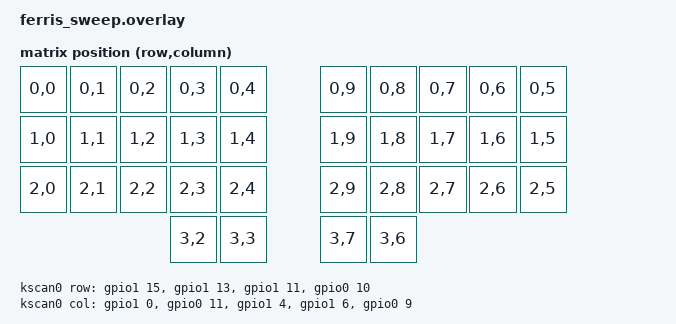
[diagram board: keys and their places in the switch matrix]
/*
 * Copyright (c) 2025
 * SPDX-License-Identifier: MIT
 */

#include <dt-bindings/zmk/matrix_transform.h>

/ {
    chosen {
        zmk,kscan = &kscan0;
        zmk,matrix-transform = &default_transform;
    };

    kscan0: kscan {
        compatible = "zmk,kscan-gpio-matrix";
        label = "KSCAN";
        diode-direction = "col2row";

        col-gpios
            = <&gpio1 0 GPIO_ACTIVE_HIGH>   // P1.00 = 100
            , <&gpio0 11 GPIO_ACTIVE_HIGH>  // P0.11 = 011
            , <&gpio1 4 GPIO_ACTIVE_HIGH>   // P1.04 = 164
            , <&gpio1 6 GPIO_ACTIVE_HIGH>   // P1.06 = 106
            , <&gpio0 9 GPIO_ACTIVE_HIGH>   // P0.09 = 009
            ;

        row-gpios
            = <&gpio1 15 (GPIO_ACTIVE_HIGH | GPIO_PULL_DOWN)>  // P1.15 = 115
            , <&gpio1 13 (GPIO_ACTIVE_HIGH | GPIO_PULL_DOWN)>  // P1.13 = 113
            , <&gpio1 11 (GPIO_ACTIVE_HIGH | GPIO_PULL_DOWN)>  // P1.11 = 111
            , <&gpio0 10 (GPIO_ACTIVE_HIGH | GPIO_PULL_DOWN)>  // P0.10 = 010
            ;
    };

    default_transform: matrix_transform {
        compatible = "zmk,matrix-transform";
        columns = <10>;
        rows = <4>;

        map = <
        RC(0,0) RC(0,1) RC(0,2) RC(0,3) RC(0,4)  RC(0,9) RC(0,8) RC(0,7) RC(0,6) RC(0,5)
        RC(1,0) RC(1,1) RC(1,2) RC(1,3) RC(1,4)  RC(1,9) RC(1,8) RC(1,7) RC(1,6) RC(1,5)
        RC(2,0) RC(2,1) RC(2,2) RC(2,3) RC(2,4)  RC(2,9) RC(2,8) RC(2,7) RC(2,6) RC(2,5)
                        RC(3,2) RC(3,3)          RC(3,7) RC(3,6)
        >;
    };
};
